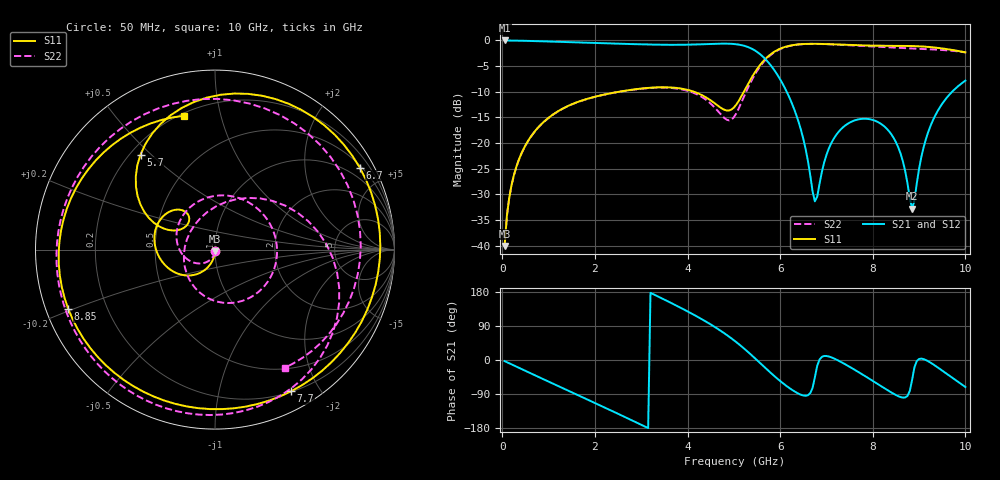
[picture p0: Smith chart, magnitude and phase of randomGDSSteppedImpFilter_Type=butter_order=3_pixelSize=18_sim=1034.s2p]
! freq	dB(S11)	phase(S11)	dB(S12)	phase(S12)
!  dB(S21)	phase(S21)	dB(S22)	phase(S22)
!S-par simulation data
#  GHz  S  DB  R 50
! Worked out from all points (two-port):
!   200 points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, 50 MHz to 10 GHz, reference 50 ohm
!   highest |S21| = -0.01 dB at 50 MHz (marker M1); lowest = -32.7 dB at 8.85 GHz (marker M2)
!   |S21| within 3 dB of the highest: start of sweep to 5.609 GHz
!   lowest |S11| = -40.0 dB at 50 MHz (marker M3), VSWR 1.02, Z = 50 - j0.994 ohm
!   |S11| at or under -10 dB: start of sweep to 2.512 GHz; 4.141 GHz to 5.215 GHz (1.075 GHz wide, 23 % of centre)
!   |S22| runs from -40.1 to -0.7 dB; largest |S21 - S12| = 0
!   S11 on the Smith chart (normalised r, x): 50 MHz: 1.00, -0.02; 5.7 GHz: 0.24, +0.46; 6.7 GHz: 0.57, +3.71; 7.7 GHz: 0.21, -1.65; 8.85 GHz: 0.07, -0.19; 10 GHz: 0.21, +0.77
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0.05  -40.05 -91.5  -0.01 -2.9  -0.01 -2.9  -40.07 -93.4
0.2  -28.16 -97.7  -0.03 -11.5  -0.03 -11.5  -28.19 -105.2
0.5  -20.44 -109.7  -0.08 -28.7  -0.08 -28.7  -20.48 -128.7
1.15  -14.09 -133.2  -0.25 -65.5  -0.25 -65.5  -14.12 -179.2
1.75  -11.61 -152.3  -0.43 -99.3  -0.43 -99.3  -11.63 132.2
2.65  -9.79 -177.4  -0.68 -150.6  -0.68 -150.6  -9.83 55.2
3.4  -9.12 160.3  -0.84 165.4  -0.84 165.4  -9.20 -9.6
4.4  -11.09 129.0  -0.72 101.2  -0.72 101.2  -11.57 -103.6
5.05  -12.54 152.8  -0.74 47.5  -0.74 47.5  -14.25 114.7
5.4  -7.00 151.9  -1.68 10.9  -1.68 10.9  -7.51 40.0
5.7  -3.44 128.1  -3.82 -23.2  -3.82 -23.2  -3.64 -4.1
6.2  -1.04 78.0  -11.13 -74.1  -11.13 -74.1  -1.09 -61.1
6.7  -0.66 29.5  -29.40 -73.8  -29.40 -73.8  -0.68 -103.4
6.8  -0.66 20.1  -30.43 -15.5  -30.43 -15.5  -0.68 -110.8
7.15  -0.76 -12.4  -19.24 4.7  -19.24 4.7  -0.79 -135.6
7.7  -0.95 -61.8  -15.36 -32.5  -15.36 -32.5  -1.05 -174.9
8.35  -1.04 -116.9  -17.68 -82.0  -17.68 -82.0  -1.37 128.1
8.65  -1.06 -141.5  -23.54 -99.2  -23.54 -99.2  -1.50 94.9
8.85  -1.09 -158.0  -32.75 -51.9  -32.75 -51.9  -1.58 70.5
9.1  -1.20 -178.7  -20.74 2.3  -20.74 2.3  -1.67 38.6
9.35  -1.40 160.4  -14.60 -15.2  -14.60 -15.2  -1.78 7.4
10  -2.32 103.1  -7.83 -71.3  -7.83 -71.3  -2.33 -59.4
